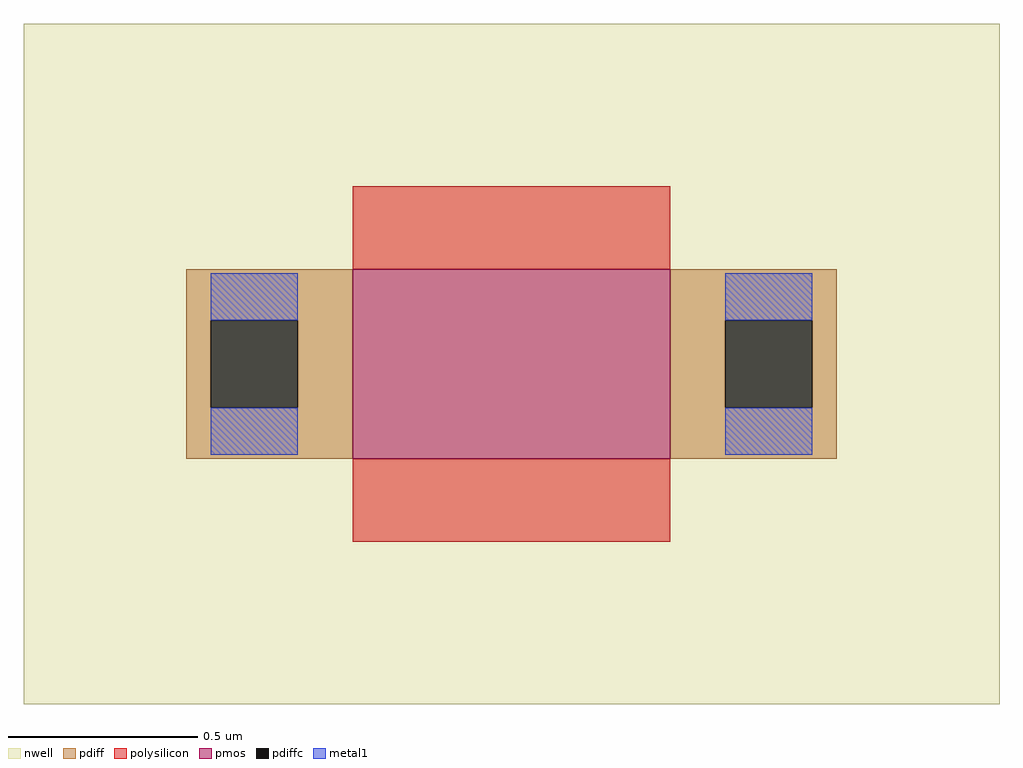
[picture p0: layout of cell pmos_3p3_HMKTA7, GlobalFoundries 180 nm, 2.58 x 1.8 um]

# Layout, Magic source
magic
tech gf180mcuD
magscale 1 10
<< nwell >>
rect -258 -180 258 180
<< pmos >>
rect -84 -50 84 50
<< pdiff >>
rect -172 23 -84 50
rect -172 -23 -159 23
rect -113 -23 -84 23
rect -172 -50 -84 -23
rect 84 23 172 50
rect 84 -23 113 23
rect 159 -23 172 23
rect 84 -50 172 -23
<< pdiffc >>
rect -159 -23 -113 23
rect 113 -23 159 23
<< polysilicon >>
rect -84 50 84 94
rect -84 -94 84 -50
<< metal1 >>
rect -159 23 -113 48
rect -159 -48 -113 -23
rect 113 23 159 48
rect 113 -48 159 -23
<< end >>
